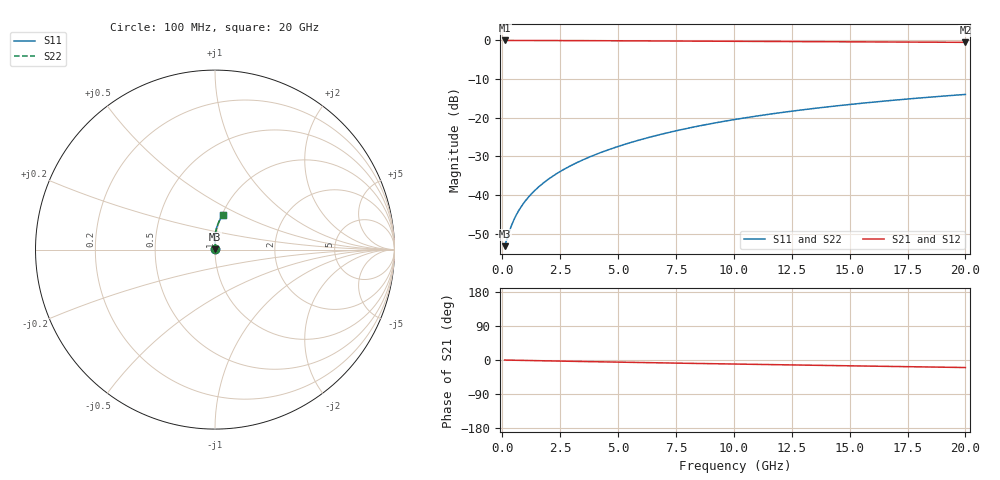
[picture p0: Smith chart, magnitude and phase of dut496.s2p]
! Touchstone file exported from HFSS 2024.1.0
!  File:  C:/UserFiles/LocalFiles/RDL_TSV_Batchsim/temp_RDL_bottom_496_1779687059.aedt
!  Generated:  01:33:43 PM May 25, 2026
!  Design:  RDL_bottom
!  Project:  temp_RDL_bottom_496_1779687059
!  Setup:  Setup1
!  Solution:  Sweep
! Variables:
!  dtsv = 10.80580581um
!  hbump = 3um
!  htsv = 98.4um
!  ldown = 245.04um
!  lrdl = 100um
!  p = 40
!  p1 = 54.02um
!  rhole = 1um
!  t = 450um
!  tdown = 2.01um
!  trdl = 3.915915916um
!  wdown = 28.49um
!  wrdl = 20um
# GHz S MA R 50.000000
! Terminal data exported
! Port[1] = RDL1_T1
! Port[2] = RDL1_T2
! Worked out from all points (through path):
!   200 points, 100 MHz to 20 GHz, reference 50 ohm
!   highest |S21| = -0.02 dB at 100 MHz (marker M1); lowest = -0.5 dB at 20 GHz (marker M2)
!   group delay of S21, straight-line fit = 2.72 ps
!   lowest |S11| = -53.2 dB at 100 MHz (marker M3), VSWR 1.00, Z = 50.2 + j0.0897 ohm
!   |S11| at or under -10 dB: start of sweep to end of sweep
!   |S22| runs from -53.2 to -14.0 dB; largest |S21 - S12| = 3.6e-15
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0.1  0.002182 24.2  0.998 -0.1  0.998 -0.1  0.002182 24.2
! Gamma 0 0 0 0
! Port Impedance 50 0 50 0
0.3  0.003355 51.2  0.9978 -0.4  0.9978 -0.4  0.003355 51.2
0.4  0.00406 57.7  0.9977 -0.5  0.9977 -0.5  0.00406 57.7
0.6  0.005501 65.7  0.9975 -0.7  0.9975 -0.7  0.005501 65.7
0.7  0.006226 68.4  0.9974 -0.8  0.9974 -0.8  0.006226 68.4
0.9  0.007687 72.5  0.9972 -1.1  0.9972 -1.1  0.007687 72.5
1.2  0.009916 76.8  0.9968 -1.4  0.9968 -1.4  0.009916 76.8
1.4  0.01143 78.9  0.9966 -1.7  0.9966 -1.7  0.01143 78.9
1.7  0.01375 81.3  0.9961 -2.0  0.9961 -2.0  0.01375 81.3
2.2  0.01771 84.3  0.9953 -2.6  0.9953 -2.6  0.01771 84.3
2.8  0.02266 86.6  0.9942 -3.2  0.9942 -3.2  0.02266 86.6
3.5  0.02868 88.4  0.9926 -4.0  0.9926 -4.0  0.02868 88.4
4.2  0.03497 89.6  0.9908 -4.8  0.9908 -4.8  0.03497 89.6
5  0.04249 90.3  0.9886 -5.7  0.9886 -5.7  0.04249 90.3
5.9  0.0513 90.7  0.9859 -6.6  0.9859 -6.6  0.0513 90.7
6.8  0.06043 90.6  0.9831 -7.5  0.9831 -7.5  0.06044 90.6
8.4  0.07722 89.7  0.9782 -9.1  0.9782 -9.1  0.07722 89.7
10.1  0.0955 88.3  0.973 -10.8  0.973 -10.8  0.0955 88.3
11.7  0.1128 86.6  0.9682 -12.3  0.9682 -12.3  0.1128 86.6
13.4  0.1312 84.7  0.9632 -13.9  0.9632 -13.9  0.1312 84.7
16.7  0.1662 80.9  0.9535 -16.9  0.9535 -16.9  0.1662 80.9
20  0.2001 77.2  0.9438 -19.9  0.9438 -19.9  0.2001 77.2
